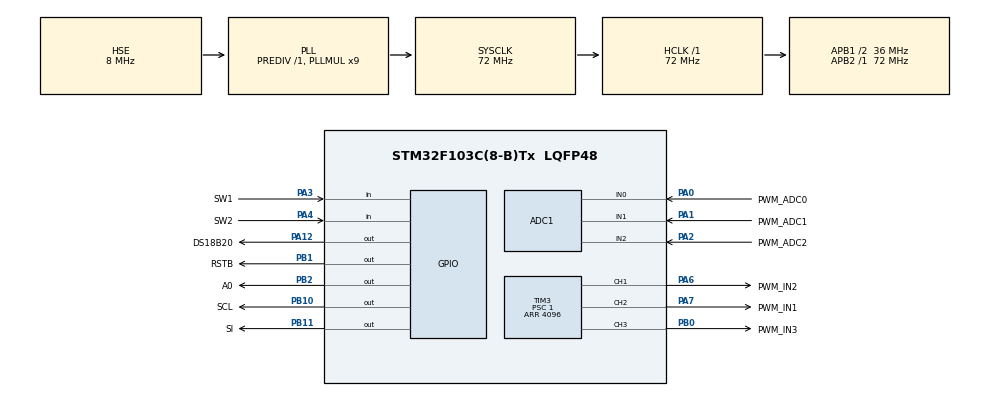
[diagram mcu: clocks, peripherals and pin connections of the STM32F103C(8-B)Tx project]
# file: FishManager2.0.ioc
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ADC1.Channel-0\#ChannelRegularConversion=ADC_CHANNEL_0
ADC1.Channel-1\#ChannelRegularConversion=ADC_CHANNEL_1
ADC1.Channel-2\#ChannelRegularConversion=ADC_CHANNEL_2
ADC1.ContinuousConvMode=DISABLE
ADC1.DiscontinuousConvMode=ENABLE
ADC1.NbrOfConversion=3
ADC1.NbrOfConversionFlag=1
ADC1.Rank-0\#ChannelRegularConversion=1
ADC1.Rank-1\#ChannelRegularConversion=2
ADC1.Rank-2\#ChannelRegularConversion=3
ADC1.SamplingTime-0\#ChannelRegularConversion=ADC_SAMPLETIME_239CYCLES_5
ADC1.SamplingTime-1\#ChannelRegularConversion=ADC_SAMPLETIME_239CYCLES_5
ADC1.SamplingTime-2\#ChannelRegularConversion=ADC_SAMPLETIME_239CYCLES_5
ADC1.master=1
Mcu.Family=STM32F1
Mcu.Name=STM32F103C(8-B)Tx
Mcu.Package=LQFP48
NVIC.PriorityGroup=NVIC_PRIORITYGROUP_4
PA0-WKUP.GPIO_Label=PWM_ADC0
PA0-WKUP.Signal=ADCx_IN0
PA1.GPIO_Label=PWM_ADC1
PA1.Signal=ADCx_IN1
PA12.GPIO_Label=DS18B20
PA12.GPIO_ModeDefaultOutputPP=GPIO_MODE_OUTPUT_OD
PA12.GPIO_PuPd=GPIO_PULLUP
PA12.PinState=GPIO_PIN_SET
PA12.Signal=GPIO_Output
PA13.Mode=Serial_Wire
PA13.Signal=SYS_JTMS-SWDIO
PA14.Mode=Serial_Wire
PA14.Signal=SYS_JTCK-SWCLK
PA2.GPIO_Label=PWM_ADC2
PA2.Signal=ADCx_IN2
PA3.GPIO_Label=SW1
PA3.GPIO_PuPd=GPIO_PULLUP
PA3.Signal=GPIO_Input
PA4.GPIO_Label=SW2
PA4.GPIO_PuPd=GPIO_PULLUP
PA4.Signal=GPIO_Input
PA6.GPIO_Label=PWM_IN2
PA6.Signal=S_TIM3_CH1
PA7.GPIO_Label=PWM_IN1
PA7.Signal=S_TIM3_CH2
PB0.GPIO_Label=PWM_IN3
PB0.Signal=S_TIM3_CH3
PB1.GPIO_Label=RSTB
PB1.Signal=GPIO_Output
PB10.GPIO_Label=SCL
PB10.Signal=GPIO_Output
PB11.GPIO_Label=SI
PB11.Signal=GPIO_Output
PB2.GPIO_Label=A0
PB2.Signal=GPIO_Output
PC14-OSC32_IN.Mode=LSE-External-Oscillator
PC14-OSC32_IN.Signal=RCC_OSC32_IN
PC15-OSC32_OUT.Mode=LSE-External-Oscillator
PC15-OSC32_OUT.Signal=RCC_OSC32_OUT
PD0-OSC_IN.Mode=HSE-External-Oscillator
PD0-OSC_IN.Signal=RCC_OSC_IN
PD1-OSC_OUT.Mode=HSE-External-Oscillator
PD1-OSC_OUT.Signal=RCC_OSC_OUT
ProjectManager.HeapSize=0x200
ProjectManager.StackSize=0x400
ProjectManager.TargetToolchain=MDK-ARM V5.27
RCC.ADCPresc=RCC_ADCPCLK2_DIV6
RCC.AHBFreq_Value=72000000
RCC.APB1CLKDivider=RCC_HCLK_DIV2
RCC.APB1Freq_Value=36000000
RCC.APB1TimFreq_Value=72000000
RCC.APB2Freq_Value=72000000
RCC.APB2TimFreq_Value=72000000
RCC.HCLKFreq_Value=72000000
RCC.PLLMUL=RCC_PLL_MUL9
RCC.PLLSourceVirtual=RCC_PLLSOURCE_HSE
RCC.RTCClockSelection=RCC_RTCCLKSOURCE_LSE
RCC.SYSCLKFreq_VALUE=72000000
RCC.SYSCLKSource=RCC_SYSCLKSOURCE_PLLCLK
RCC.USBFreq_Value=72000000
RTC.Date=16
RTC.Format=RTC_FORMAT_BIN
RTC.Month=RTC_MONTH_SEPTEMBER
RTC.WeekDay=RTC_WEEKDAY_THURSDAY
RTC.Year=21
SH.ADCx_IN0.0=ADC1_IN0,IN0
SH.ADCx_IN1.0=ADC1_IN1,IN1
SH.ADCx_IN2.0=ADC1_IN2,IN2
SH.S_TIM3_CH1.0=TIM3_CH1,PWM Generation1 CH1
SH.S_TIM3_CH2.0=TIM3_CH2,PWM Generation2 CH2
SH.S_TIM3_CH3.0=TIM3_CH3,PWM Generation3 CH3
TIM3.Channel-PWM\ Generation1\ CH1=TIM_CHANNEL_1
TIM3.Channel-PWM\ Generation2\ CH2=TIM_CHANNEL_2
TIM3.Channel-PWM\ Generation3\ CH3=TIM_CHANNEL_3
TIM3.Period=4096
TIM3.Prescaler=1
VP_RTC_VS_RTC_Activate.Mode=RTC_Enabled
VP_RTC_VS_RTC_Calendar.Mode=RTC_Calendar
board=custom

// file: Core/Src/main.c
/* USER CODE BEGIN Header */
/**
  ******************************************************************************
  * @file           : main.c
  * @brief          : Main program body
  ******************************************************************************
  * @attention
  *

	 Copyright [2021] [GIE Studio]

   Licensed under the Apache License, Version 2.0 (the "License");
   you may not use this file except in compliance with the License.
   You may obtain a copy of the License at

       http://www.apache.org/licenses/LICENSE-2.0

   Unless required by applicable law or agreed to in writing, software
   distributed under the License is distributed on an "AS IS" BASIS,
   WITHOUT WARRANTIES OR CONDITIONS OF ANY KIND, either express or implied.
   See the License for the specific language governing permissions and
   limitations under the License.
	 GIE工作室，根据Apache2.0协议开源

	 海水缸智能全光谱控制器
	 恒流LED驱动3路：PT4115方案，蓝光组0.9A三串三并，其余0.3A三串12V输入
	 PWM输出无分频，高频驱动调光无频闪，日出日落自动控制
	 温度探头：带防水不锈钢壳18B20
	 屏幕：LX12864B11
	 欢迎关注b站up主：GIE工作室，获得超多干货
  *
  ******************************************************************************
  */
/* USER CODE END Header */
#include "main.h"
#include "adc.h"
#include "rtc.h"
#include "tim.h"
#include "gpio.h"

/* USER CODE BEGIN Includes */
#include "string.h"
#include "stdio.h"
/* USER CODE END Includes */

/* USER CODE BEGIN PV */
float tempu=0;
int hour=0,min=0,sec=0;//本地时间
int light_hour=9,light_min=0,light_time=9,feed_time=12,sec_prev=0,sun_flag=0;
char light_mode[]="A\0D";
int PWM_Compare_Val[3]={0,0,0};
int knob_val[3];
uint8_t light_flag=0;
RTC_TimeTypeDef stimestructure;
void Main_UI_Refresh(void);
void Key_Scan(void);
void PWM_Refresh(void);
void Value_Refresh(void);
void PWM_Manual_Convert(void);
void PWM_Next_Calc(int *PWM_now,int *PWM_goal);
void PWM_Value_Valid(void);
void PWM_Auto_Convert(int *PWM_PREV);
/* USER CODE END PV */

void SystemClock_Config(void);

int main(void)
{

  /* MCU Configuration--------------------------------------------------------*/

  /* Reset of all peripherals, Initializes the Flash interface and the Systick. */
  HAL_Init();

  /* Configure the system clock */
  SystemClock_Config();

  /* Initialize all configured peripherals */
  MX_GPIO_Init();
  MX_ADC1_Init();
  MX_RTC_Init();
  MX_TIM3_Init();
  /* USER CODE BEGIN 2 */
	DS18B20_Init();
	init12864();
	HAL_TIM_PWM_Start(&htim3,TIM_CHANNEL_1);
	HAL_TIM_PWM_Start(&htim3,TIM_CHANNEL_2);
	HAL_TIM_PWM_Start(&htim3,TIM_CHANNEL_3);
  /* USER CODE END 2 */

  /* Infinite loop */
  /* USER CODE BEGIN WHILE */
  while (1)
  {
		Value_Refresh();//时间、旋钮、温度值刷新
		PWM_Refresh();//PWM输出值刷新（日出日落自动控制与手动控制）
		Key_Scan();//按键调时逻辑
    /* USER CODE END WHILE */

  }
}

void SystemClock_Config(void)
{
  RCC_OscInitTypeDef RCC_OscInitStruct = {0};
  RCC_ClkInitTypeDef RCC_ClkInitStruct = {0};
  RCC_PeriphCLKInitTypeDef PeriphClkInit = {0};

  /** Initializes the RCC Oscillators according to the specified parameters
  * in the RCC_OscInitTypeDef structure.
  */
  RCC_OscInitStruct.OscillatorType = RCC_OSCILLATORTYPE_HSE|RCC_OSCILLATORTYPE_LSE;
  RCC_OscInitStruct.HSEState = RCC_HSE_ON;
  RCC_OscInitStruct.HSEPredivValue = RCC_HSE_PREDIV_DIV1;
  RCC_OscInitStruct.LSEState = RCC_LSE_ON;
  RCC_OscInitStruct.HSIState = RCC_HSI_ON;
  RCC_OscInitStruct.PLL.PLLState = RCC_PLL_ON;
  RCC_OscInitStruct.PLL.PLLSource = RCC_PLLSOURCE_HSE;
  RCC_OscInitStruct.PLL.PLLMUL = RCC_PLL_MUL9;
  if (HAL_RCC_OscConfig(&RCC_OscInitStruct) != HAL_OK)
  {
    Error_Handler();
  }
  /** Initializes the CPU, AHB and APB buses clocks
  */
  RCC_ClkInitStruct.ClockType = RCC_CLOCKTYPE_HCLK|RCC_CLOCKTYPE_SYSCLK
                              |RCC_CLOCKTYPE_PCLK1|RCC_CLOCKTYPE_PCLK2;
  RCC_ClkInitStruct.SYSCLKSource = RCC_SYSCLKSOURCE_PLLCLK;
  RCC_ClkInitStruct.AHBCLKDivider = RCC_SYSCLK_DIV1;
  RCC_ClkInitStruct.APB1CLKDivider = RCC_HCLK_DIV2;
  RCC_ClkInitStruct.APB2CLKDivider = RCC_HCLK_DIV1;

  if (HAL_RCC_ClockConfig(&RCC_ClkInitStruct, FLASH_LATENCY_2) != HAL_OK)
  {
    Error_Handler();
  }
  PeriphClkInit.PeriphClockSelection = RCC_PERIPHCLK_RTC|RCC_PERIPHCLK_ADC;
  PeriphClkInit.RTCClockSelection = RCC_RTCCLKSOURCE_LSE;
  PeriphClkInit.AdcClockSelection = RCC_ADCPCLK2_DIV6;
  if (HAL_RCCEx_PeriphCLKConfig(&PeriphClkInit) != HAL_OK)
  {
    Error_Handler();
  }
}

/* USER CODE BEGIN 4 */
void Main_UI_Refresh(void)//主界面显示刷新函数
{
	uint8_t dis_buffer[10];
	memset(dis_buffer,0,10);

	sprintf(( char *)dis_buffer,"%.1f:",tempu);
	displayASC12X24_str(0,0,dis_buffer);//更新温度显示
	for(int ixx=0;ixx<8;ixx++)
	{
		printf_lcd(64,ixx,"|");
	}
	printf_lcd(0,4,"%02d:%02d:%02d",hour,min,stimestructure.Seconds);
	printf_lcd(0,5,"SR %02d:%02d",light_hour,light_min);//左半屏
	printf_lcd(0,6,"DT %02dH   ",light_time);
	printf_lcd(0,7,"GIE Studio");
	printf_lcd(0,3,"-----------");

	printf_lcd(72,0,"Mode %s",light_mode);
	printf_lcd(72,1,"CHW %02.1f%% ",(float)PWM_Compare_Val[0]/40.96f);
	printf_lcd(72,2,"CHB %02.1f%% ",(float)PWM_Compare_Val[1]/40.96f);
	printf_lcd(72,3,"CHU %02.1f%% ",(float)PWM_Compare_Val[2]/40.96f);

	printf_lcd(72,4,"TW %04d",knob_val[0]);
	printf_lcd(72,5,"TB %04d",knob_val[1]);
	printf_lcd(72,6,"TU %04d",knob_val[2]);
	printf_lcd(72,7,"2021-9-17");
}
void Value_Refresh(void)//所有值更新函数
{
//	short temp_ds=0;
	HAL_RTC_GetTime(&hrtc, &stimestructure, RTC_FORMAT_BIN);//更新时间
	hour=stimestructure.Hours;
	min=stimestructure.Minutes;
	tempu=(float)DS18B20_Get_Temp()/10;//获取温度
	if(sec_prev!=stimestructure.Seconds)
	{
		sec_prev=stimestructure.Seconds;
		Main_UI_Refresh();
	}
		for(int ixx=0;ixx<3;ixx++)//获取旋钮值
		{
			HAL_ADC_Start(&hadc1);
			HAL_ADC_PollForConversion(&hadc1,5000);
			knob_val[ixx]=HAL_ADC_GetValue(&hadc1);
		}
		HAL_ADC_Stop(&hadc1);
}
void PWM_Refresh(void)//自动日出日落逻辑、手动模式逻辑
{
		if(light_mode[0]=='A')
		{
			//自动模式
				int PWM_Compare_Val_Prev[3];//存储切换渐变用的数值
				for(int ixx=0;ixx<3;ixx++)
				{
					PWM_Compare_Val_Prev[ixx]=PWM_Compare_Val[ixx];
				}
				int now_time_min=(60*stimestructure.Hours)+stimestructure.Minutes;//所有亮度均需使用绝对时间计算，不能直接加减数
				if((now_time_min>=(light_hour*60+light_min))&&(now_time_min<((light_hour+light_time)*60)+light_min))//在开灯时间内
				{
					int now_time_sec=(60*now_time_min)+stimestructure.Seconds-(60*(light_hour*60+light_min));//获取已日出秒数
					if(now_time_sec<4096)//日出时间段（4096s，约1.1小时）
					{
						PWM_Compare_Val[0]=0;//白光（日出时段无白光）
						PWM_Compare_Val[1]=now_time_sec;//蓝光随着秒针跳动
						PWM_Compare_Val[2]=0;//紫外（日出时段无紫外光）
					}
					else if(now_time_sec<6144)//阳光逐渐增强阶段（2048s，约34分钟）
					{
						PWM_Compare_Val[0]=2*(now_time_sec-4096);
						PWM_Compare_Val[1]=4096;
						PWM_Compare_Val[2]=2*(now_time_sec-4096);
					}
					else if(now_time_sec>=(60*(light_hour*60)-2048))//日落时间段（2048s，约34分钟）
					{
						for(int ixx=0;ixx<3;ixx+=2)
						{
							if(PWM_Compare_Val[ixx]>=2)
								PWM_Compare_Val[ixx]=4096-(2*(now_time_sec-(3600*light_hour-2048)));//日落前白光与紫外光关至0
						}
						PWM_Compare_Val[1]=4096-(now_time_sec-(3600*light_hour-2048));//留下微弱蓝光
					}
					else
					{
						for(int ixx=0;ixx<3;ixx++)
							PWM_Compare_Val[ixx]=4096;
					}
				}
				else if((now_time_min>=((light_hour+light_time)*60)+light_min)&&(now_time_min<=((light_hour+light_time+2)*60)+light_min))//日落后仍维持1.7小时渐弱的微弱蓝光提高观赏性
				{
					int sd_time_sec=(60*now_time_min)+stimestructure.Seconds-(60*(((light_hour+light_time)*60)+light_min));//计算已日落秒数
					PWM_Compare_Val[0]=0;//关闭白光
					PWM_Compare_Val[1]=2048-(sd_time_sec/3);//蓝光随着秒针渐弱
					PWM_Compare_Val[2]=0;//关闭紫外光
					if(PWM_Compare_Val[1]<0)
						PWM_Compare_Val[1]=0;
				}
				else//灯全灭时段
				{
					PWM_Compare_Val[0]=0;
					PWM_Compare_Val[1]=0;
					PWM_Compare_Val[2]=0;
				}
				if(light_mode[2]=='D')//如果是从手动模式切换回来，则执行光线渐变
				{
					light_mode[2]='A';
					PWM_Auto_Convert(PWM_Compare_Val_Prev);
				}
		}
		else
		{
			//手动模式
			if(light_mode[2]=='A')
			PWM_Manual_Convert();//渐变切换
			else
			{
				PWM_Compare_Val[0]=knob_val[0];
				PWM_Compare_Val[1]=knob_val[1];
				PWM_Compare_Val[2]=knob_val[2];
			}
		}
	PWM_Value_Valid();
	__HAL_TIM_SET_COMPARE(&htim3,TIM_CHANNEL_1,PWM_Compare_Val[0]);
	__HAL_TIM_SET_COMPARE(&htim3,TIM_CHANNEL_2,PWM_Compare_Val[1]);
	__HAL_TIM_SET_COMPARE(&htim3,TIM_CHANNEL_3,PWM_Compare_Val[2]);
}
void PWM_Manual_Convert(void)//手动模式下的渐变效果
{
	if(PWM_Compare_Val[0]==knob_val[0]&&PWM_Compare_Val[1]==knob_val[1]&&PWM_Compare_Val[2]==knob_val[2])
	{
		return;
	}
	else
	{
		while(1)
		{
			PWM_Next_Calc(PWM_Compare_Val,knob_val);
			PWM_Next_Calc(PWM_Compare_Val+1,knob_val+1);
			PWM_Next_Calc(PWM_Compare_Val+2,knob_val+2);
			Soft_delay_us(100);
			if(PWM_Compare_Val[0]==knob_val[0]&&PWM_Compare_Val[1]==knob_val[1]&&PWM_Compare_Val[2]==knob_val[2])
			 break;
			__HAL_TIM_SET_COMPARE(&htim3,TIM_CHANNEL_1,PWM_Compare_Val[0]);
			__HAL_TIM_SET_COMPARE(&htim3,TIM_CHANNEL_2,PWM_Compare_Val[1]);
			__HAL_TIM_SET_COMPARE(&htim3,TIM_CHANNEL_3,PWM_Compare_Val[2]);
		}
		light_mode[2]='D';
	}
}
void PWM_Auto_Convert(int *PWM_PREV)//自动模式下的渐变效果
{
	while(1)
	{
		PWM_Next_Calc(PWM_PREV,PWM_Compare_Val);
		PWM_Next_Calc(PWM_PREV+1,PWM_Compare_Val+1);
		PWM_Next_Calc(PWM_PREV+2,PWM_Compare_Val+2);
		Soft_delay_us(100);
		if(PWM_Compare_Val[0]==PWM_PREV[0]&&PWM_Compare_Val[1]==PWM_PREV[1]&&PWM_Compare_Val[2]==PWM_PREV[2])
		 break;
		__HAL_TIM_SET_COMPARE(&htim3,TIM_CHANNEL_1,PWM_PREV[0]);
		__HAL_TIM_SET_COMPARE(&htim3,TIM_CHANNEL_2,PWM_PREV[1]);
		__HAL_TIM_SET_COMPARE(&htim3,TIM_CHANNEL_3,PWM_PREV[2]);
	}
}
void PWM_Next_Calc(int *PWM_now,int *PWM_goal)//根据当前和目标计算渐变值
{
	if(((PWM_now[0]-PWM_goal[0])>0))
	{
		PWM_now[0]--;
	}
	else if(PWM_now[0]-PWM_goal[0]<0)
	{
		PWM_now[0]++;
	}
}
void Key_Scan(void)//按键调时、手自动模式切换
{
	uint8_t key1n=0;
	uint32_t cnt_f=0;
	if(HAL_GPIO_ReadPin(SW2_GPIO_Port,SW2_Pin)==0)//key2为模式切换键
	{
		HAL_Delay(10);
		if(HAL_GPIO_ReadPin(SW2_GPIO_Port,SW2_Pin)==0)//key2为模式切换键
		{
			while(!HAL_GPIO_ReadPin(SW2_GPIO_Port,SW2_Pin));
			if(light_mode[0]=='A')
			{
				light_mode[0]='M';
				light_mode[2]='A';
			}
			else
			{
				light_mode[0]='A';
			}
		}
	}
	if(HAL_GPIO_ReadPin(SW1_GPIO_Port,SW1_Pin)==0)//---------------key1为功能键（设置键）--------------------
	{
		while(1)
		{
			if(HAL_GPIO_ReadPin(SW1_GPIO_Port,SW1_Pin)==0)//延时后再次确认按键按下
			{
				HAL_Delay(10);
				if(HAL_GPIO_ReadPin(SW1_GPIO_Port,SW1_Pin)==0)//---------------key1为功能键（设置键）--------------------
				{
					HAL_Delay(20);
					while(!HAL_GPIO_ReadPin(SW1_GPIO_Port,SW1_Pin));
					key1n++;
					if(key1n>6)
						key1n=6;
				}
			}
			switch(key1n)
			{
			case 1:
						if(HAL_GPIO_ReadPin(SW2_GPIO_Port,SW2_Pin)==0)//延时后再次确认按键按下
						{
							HAL_Delay(10);
							if(HAL_GPIO_ReadPin(SW2_GPIO_Port,SW2_Pin)==0)//---------------key1为功能键（设置键）--------------------
							{
								while(!HAL_GPIO_ReadPin(SW2_GPIO_Port,SW2_Pin));
								hour++;
								if(hour>23)
									hour=0;
							}
						}
						break;
			case 2:
						if(HAL_GPIO_ReadPin(SW2_GPIO_Port,SW2_Pin)==0)//延时后再次确认按键按下
						{
							HAL_Delay(10);
							if(HAL_GPIO_ReadPin(SW2_GPIO_Port,SW2_Pin)==0)//---------------key1为功能键（设置键）--------------------
							{
								while(!HAL_GPIO_ReadPin(SW2_GPIO_Port,SW2_Pin));
								min++;
								if(min>59)
									min=0;
							}
						}
					break;
			case 3:
					if(HAL_GPIO_ReadPin(SW2_GPIO_Port,SW2_Pin)==0)//延时后再次确认按键按下
					{
						HAL_Delay(10);
						if(HAL_GPIO_ReadPin(SW2_GPIO_Port,SW2_Pin)==0)//---------------key1为功能键（设置键）--------------------
						{
							while(!HAL_GPIO_ReadPin(SW2_GPIO_Port,SW2_Pin));
							light_hour++;
							if(light_hour>16)
								light_hour=0;
						}
					}
				break;
		case 4:
					if(HAL_GPIO_ReadPin(SW2_GPIO_Port,SW2_Pin)==0)//延时后再次确认按键按下
					{
						HAL_Delay(10);
						if(HAL_GPIO_ReadPin(SW2_GPIO_Port,SW2_Pin)==0)//---------------key1为功能键（设置键）--------------------
						{
							while(!HAL_GPIO_ReadPin(SW2_GPIO_Port,SW2_Pin));
							light_min++;
							if(light_min>59)
								light_min=0;
						}
					}
				break;
			case 5:
					if(HAL_GPIO_ReadPin(SW2_GPIO_Port,SW2_Pin)==0)//延时后再次确认按键按下
					{
						HAL_Delay(10);
						if(HAL_GPIO_ReadPin(SW2_GPIO_Port,SW2_Pin)==0)//---------------key1为功能键（设置键）--------------------
						{
							while(!HAL_GPIO_ReadPin(SW2_GPIO_Port,SW2_Pin));
							light_time++;
							if(light_time>18)
								light_time=3;
						}
					}
					break;
			case 6:
					stimestructure.Hours=hour;
					stimestructure.Minutes=min;
					HAL_RTC_SetTime(&hrtc, &stimestructure, RTC_FORMAT_BIN);
					light_mode[2]='D';
					return;
			}
			cnt_f++;
			if(cnt_f<=50)
			{
				printf_lcd(0,4,"%02d:%02d:%02d",hour,min,stimestructure.Seconds);
				printf_lcd(0,5,"SR %02d:%02d",light_hour,light_min);
				printf_lcd(0,6,"DT %02dH   ",light_time);
			}
			if(cnt_f>50&&cnt_f<100)
				{
					if(key1n==1)
					{
						printf_lcd(0,4,"  :%02d:%02d",min,stimestructure.Seconds);
					}
					else if(key1n==2)
					{
						printf_lcd(0,4,"%02d:  :%02d",hour,stimestructure.Seconds);
					}
					else if(key1n==3)
					{
						printf_lcd(0,5,"SR   :%02d",light_min);
					}
					else if(key1n==4)
					{
						printf_lcd(0,5,"SR %02d:  ",light_hour);
					}
					else
					{
						printf_lcd(0,6,"DT   H   ");
					}
				}
			if(cnt_f>=100)
				{
					cnt_f=0;
				}
		}
	}
}
void PWM_Value_Valid(void)//限定值到PWM范围内
{
	for(int ixx=0;ixx<3;ixx++)
	{
		if(PWM_Compare_Val[ixx]<0)
			PWM_Compare_Val[ixx]=0;
		else if(PWM_Compare_Val[ixx]>4095)
			PWM_Compare_Val[ixx]=4095;
	}
}
/* USER CODE END 4 */

void Error_Handler(void)
{
  __disable_irq();
  while (1)
  {
  }
}

/************************ (C) COPYRIGHT STMicroelectronics *****END OF FILE****/
